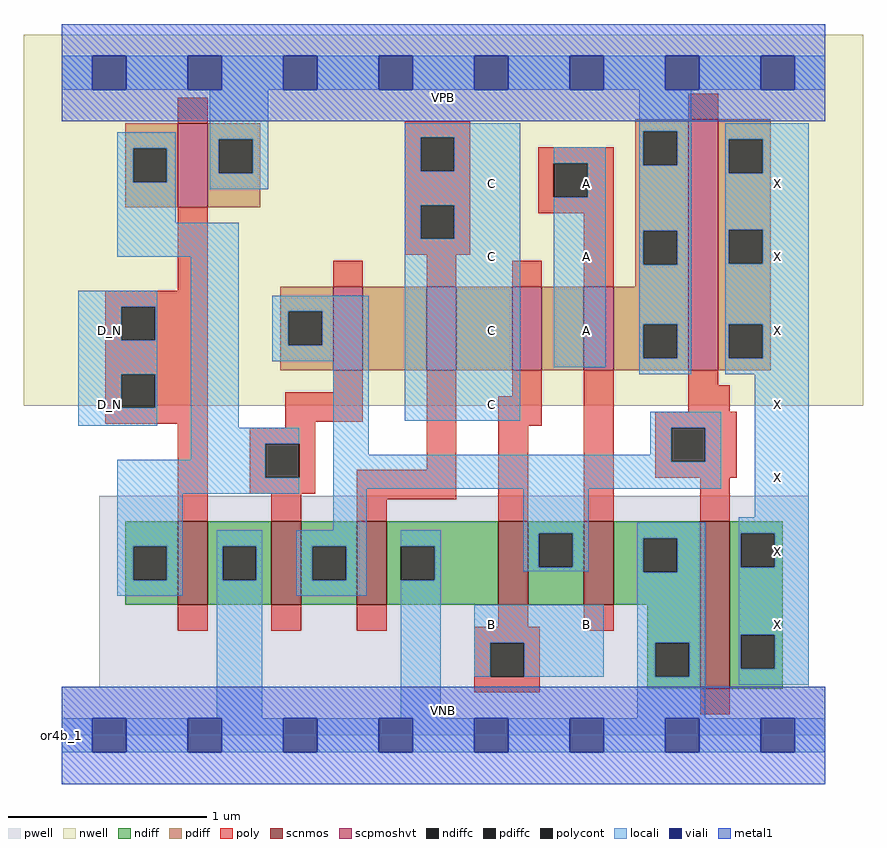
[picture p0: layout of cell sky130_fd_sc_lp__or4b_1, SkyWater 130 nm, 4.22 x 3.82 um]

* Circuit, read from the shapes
.subckt sky130_fd_sc_lp__or4b_1 A B C D_N VGND VNB VPB VPWR X
XM1 VGND D_N n1 VNB sky130_fd_pr__nfet_01v8 w=0.42 l=0.15
XM2 n2 n1 VGND VNB sky130_fd_pr__nfet_01v8 w=0.42 l=0.15
XM3 VGND C n2 VNB sky130_fd_pr__nfet_01v8 w=0.42 l=0.15
XM4 n2 B VGND VNB sky130_fd_pr__nfet_01v8 w=0.42 l=0.15
XM5 VGND A n2 VNB sky130_fd_pr__nfet_01v8 w=0.42 l=0.15
XM6 X n2 VGND VNB sky130_fd_pr__nfet_01v8 w=0.84 l=0.15
XM7 VPWR D_N n1 VPB sky130_fd_pr__pfet_01v8_hvt w=0.42 l=0.15
XM8 n3 n1 n2 VPB sky130_fd_pr__pfet_01v8_hvt w=0.42 l=0.15
XM9 n4 C n3 VPB sky130_fd_pr__pfet_01v8_hvt w=0.42 l=0.15
XM10 n5 B n4 VPB sky130_fd_pr__pfet_01v8_hvt w=0.42 l=0.15
XM11 VPWR A n5 VPB sky130_fd_pr__pfet_01v8_hvt w=0.42 l=0.15
XM12 X n2 VPWR VPB sky130_fd_pr__pfet_01v8_hvt w=1.26 l=0.15
.ends

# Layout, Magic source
magic
tech sky130A
magscale 1 2
<< nwell >>
rect -38 331 806 704
<< pwell >>
rect 38 49 751 241
rect 0 0 768 49
<< scnmos >>
rect 117 131 147 215
rect 211 131 241 215
rect 297 131 327 215
rect 439 131 469 215
rect 525 131 555 215
rect 642 47 672 215
<< scpmoshvt >>
rect 117 531 147 615
rect 273 367 303 451
rect 367 367 397 451
rect 453 367 483 451
rect 525 367 555 451
rect 630 367 660 619
<< ndiff >>
rect 64 190 117 215
rect 64 156 72 190
rect 106 156 117 190
rect 64 131 117 156
rect 147 190 211 215
rect 147 156 162 190
rect 196 156 211 190
rect 147 131 211 156
rect 241 190 297 215
rect 241 156 252 190
rect 286 156 297 190
rect 241 131 297 156
rect 327 190 439 215
rect 327 156 341 190
rect 375 156 439 190
rect 327 131 439 156
rect 469 203 525 215
rect 469 169 480 203
rect 514 169 525 203
rect 469 131 525 169
rect 555 198 642 215
rect 555 164 585 198
rect 619 164 642 198
rect 555 131 642 164
rect 589 93 642 131
rect 589 59 597 93
rect 631 59 642 93
rect 589 47 642 59
rect 672 203 725 215
rect 672 169 683 203
rect 717 169 725 203
rect 672 101 725 169
rect 672 67 683 101
rect 717 67 725 101
rect 672 47 725 67
<< pdiff >>
rect 64 590 117 615
rect 64 556 72 590
rect 106 556 117 590
rect 64 531 117 556
rect 147 599 200 615
rect 147 565 158 599
rect 192 565 200 599
rect 147 531 200 565
rect 577 607 630 619
rect 577 573 585 607
rect 619 573 630 607
rect 577 507 630 573
rect 577 473 585 507
rect 619 473 630 507
rect 577 451 630 473
rect 220 426 273 451
rect 220 392 228 426
rect 262 392 273 426
rect 220 367 273 392
rect 303 367 367 451
rect 397 367 453 451
rect 483 367 525 451
rect 555 413 630 451
rect 555 379 585 413
rect 619 379 630 413
rect 555 367 630 379
rect 660 599 713 619
rect 660 565 671 599
rect 705 565 713 599
rect 660 508 713 565
rect 660 474 671 508
rect 705 474 713 508
rect 660 413 713 474
rect 660 379 671 413
rect 705 379 713 413
rect 660 367 713 379
<< ndiffc >>
rect 72 156 106 190
rect 162 156 196 190
rect 252 156 286 190
rect 341 156 375 190
rect 480 169 514 203
rect 585 164 619 198
rect 597 59 631 93
rect 683 169 717 203
rect 683 67 717 101
<< pdiffc >>
rect 72 556 106 590
rect 158 565 192 599
rect 585 573 619 607
rect 585 473 619 507
rect 228 392 262 426
rect 585 379 619 413
rect 671 565 705 599
rect 671 474 705 508
rect 671 379 705 413
<< poly >>
rect 117 615 147 641
rect 630 619 660 645
rect 345 601 411 617
rect 345 567 361 601
rect 395 567 411 601
rect 345 533 411 567
rect 117 447 147 531
rect 345 499 361 533
rect 395 499 411 533
rect 479 575 555 591
rect 479 541 495 575
rect 529 541 555 575
rect 479 525 555 541
rect 345 483 411 499
rect 273 451 303 477
rect 367 451 397 483
rect 453 451 483 477
rect 525 451 555 525
rect 44 431 147 447
rect 44 397 60 431
rect 94 397 147 431
rect 44 363 147 397
rect 44 329 60 363
rect 94 329 147 363
rect 273 345 303 367
rect 44 313 147 329
rect 117 215 147 313
rect 225 315 303 345
rect 225 309 255 315
rect 189 293 255 309
rect 189 259 205 293
rect 239 259 255 293
rect 367 267 397 367
rect 453 341 483 367
rect 189 243 255 259
rect 211 215 241 243
rect 297 237 397 267
rect 439 311 483 341
rect 297 215 327 237
rect 439 215 469 311
rect 525 215 555 367
rect 630 352 660 367
rect 630 325 672 352
rect 597 309 679 325
rect 597 275 613 309
rect 647 275 679 309
rect 597 259 679 275
rect 642 215 672 259
rect 117 105 147 131
rect 211 105 241 131
rect 297 105 327 131
rect 439 109 469 131
rect 415 93 481 109
rect 525 105 555 131
rect 415 59 431 93
rect 465 59 481 93
rect 415 43 481 59
rect 642 21 672 47
<< polycont >>
rect 361 567 395 601
rect 361 499 395 533
rect 495 541 529 575
rect 60 397 94 431
rect 60 329 94 363
rect 205 259 239 293
rect 613 275 647 309
rect 431 59 465 93
<< locali >>
rect 0 649 31 683
rect 65 649 127 683
rect 161 649 223 683
rect 257 649 319 683
rect 353 649 415 683
rect 449 649 511 683
rect 545 649 607 683
rect 641 649 703 683
rect 737 649 768 683
rect 56 590 115 606
rect 56 556 72 590
rect 106 556 115 590
rect 56 515 115 556
rect 149 599 208 649
rect 149 565 158 599
rect 192 565 208 599
rect 149 549 208 565
rect 345 601 461 615
rect 345 567 361 601
rect 395 567 461 601
rect 581 607 633 649
rect 345 533 461 567
rect 56 481 178 515
rect 17 431 96 447
rect 17 397 60 431
rect 94 397 96 431
rect 17 363 96 397
rect 17 329 60 363
rect 94 329 96 363
rect 17 311 96 329
rect 130 309 178 481
rect 345 499 361 533
rect 395 499 461 533
rect 212 426 309 442
rect 212 392 228 426
rect 262 392 309 426
rect 212 376 309 392
rect 130 293 239 309
rect 130 277 205 293
rect 56 259 205 277
rect 56 243 239 259
rect 273 282 309 376
rect 345 316 461 499
rect 495 575 547 591
rect 529 541 547 575
rect 495 370 547 541
rect 581 573 585 607
rect 619 573 633 607
rect 581 507 633 573
rect 581 473 585 507
rect 619 473 633 507
rect 581 413 633 473
rect 581 379 585 413
rect 619 379 633 413
rect 581 363 633 379
rect 667 599 751 615
rect 667 565 671 599
rect 705 565 751 599
rect 667 508 751 565
rect 667 474 671 508
rect 705 474 751 508
rect 667 413 751 474
rect 667 379 671 413
rect 705 379 751 413
rect 667 363 751 379
rect 592 309 663 325
rect 592 282 613 309
rect 273 275 613 282
rect 647 275 663 309
rect 273 248 663 275
rect 56 190 122 243
rect 273 206 307 248
rect 56 156 72 190
rect 106 156 122 190
rect 56 140 122 156
rect 156 190 202 206
rect 156 156 162 190
rect 196 156 202 190
rect 156 17 202 156
rect 236 190 307 206
rect 236 156 252 190
rect 286 156 307 190
rect 236 140 307 156
rect 341 190 381 206
rect 375 156 381 190
rect 464 203 530 248
rect 697 219 751 363
rect 464 169 480 203
rect 514 169 530 203
rect 464 165 530 169
rect 579 198 647 214
rect 341 17 381 156
rect 579 164 585 198
rect 619 164 647 198
rect 415 93 545 131
rect 415 59 431 93
rect 465 59 545 93
rect 579 93 647 164
rect 579 59 597 93
rect 631 59 647 93
rect 579 17 647 59
rect 681 203 751 219
rect 681 169 683 203
rect 717 169 751 203
rect 681 101 751 169
rect 681 67 683 101
rect 717 67 751 101
rect 681 51 751 67
rect 0 -17 31 17
rect 65 -17 127 17
rect 161 -17 223 17
rect 257 -17 319 17
rect 353 -17 415 17
rect 449 -17 511 17
rect 545 -17 607 17
rect 641 -17 703 17
rect 737 -17 768 17
<< viali >>
rect 31 649 65 683
rect 127 649 161 683
rect 223 649 257 683
rect 319 649 353 683
rect 415 649 449 683
rect 511 649 545 683
rect 607 649 641 683
rect 703 649 737 683
rect 31 -17 65 17
rect 127 -17 161 17
rect 223 -17 257 17
rect 319 -17 353 17
rect 415 -17 449 17
rect 511 -17 545 17
rect 607 -17 641 17
rect 703 -17 737 17
<< metal1 >>
rect 0 683 768 715
rect 0 649 31 683
rect 65 649 127 683
rect 161 649 223 683
rect 257 649 319 683
rect 353 649 415 683
rect 449 649 511 683
rect 545 649 607 683
rect 641 649 703 683
rect 737 649 768 683
rect 0 617 768 649
rect 0 17 768 49
rect 0 -17 31 17
rect 65 -17 127 17
rect 161 -17 223 17
rect 257 -17 319 17
rect 353 -17 415 17
rect 449 -17 511 17
rect 545 -17 607 17
rect 641 -17 703 17
rect 737 -17 768 17
rect 0 -49 768 -17
<< labels >>
flabel pwell s 0 0 768 49 0 FreeSans 200 0 0 0 VNB
port 6 nsew ground bidirectional
flabel nwell s 0 617 768 666 0 FreeSans 200 0 0 0 VPB
port 7 nsew power bidirectional
rlabel comment s 0 0 0 0 4 or4b_1
flabel metal1 s 0 617 768 666 0 FreeSans 340 0 0 0 VPWR
port 8 nsew power bidirectional
flabel metal1 s 0 0 768 49 0 FreeSans 340 0 0 0 VGND
port 5 nsew ground bidirectional
flabel locali s 415 316 449 350 0 FreeSans 340 0 0 0 C
port 3 nsew signal input
flabel locali s 415 390 449 424 0 FreeSans 340 0 0 0 C
port 3 nsew signal input
flabel locali s 415 464 449 498 0 FreeSans 340 0 0 0 C
port 3 nsew signal input
flabel locali s 415 538 449 572 0 FreeSans 340 0 0 0 C
port 3 nsew signal input
flabel locali s 703 94 737 128 0 FreeSans 340 0 0 0 X
port 9 nsew signal output
flabel locali s 703 168 737 202 0 FreeSans 340 0 0 0 X
port 9 nsew signal output
flabel locali s 703 242 737 276 0 FreeSans 340 0 0 0 X
port 9 nsew signal output
flabel locali s 703 316 737 350 0 FreeSans 340 0 0 0 X
port 9 nsew signal output
flabel locali s 703 390 737 424 0 FreeSans 340 0 0 0 X
port 9 nsew signal output
flabel locali s 703 464 737 498 0 FreeSans 340 0 0 0 X
port 9 nsew signal output
flabel locali s 703 538 737 572 0 FreeSans 340 0 0 0 X
port 9 nsew signal output
flabel locali s 511 390 545 424 0 FreeSans 340 0 0 0 A
port 1 nsew signal input
flabel locali s 511 464 545 498 0 FreeSans 340 0 0 0 A
port 1 nsew signal input
flabel locali s 511 538 545 572 0 FreeSans 340 0 0 0 A
port 1 nsew signal input
flabel locali s 415 94 449 128 0 FreeSans 340 0 0 0 B
port 2 nsew signal input
flabel locali s 511 94 545 128 0 FreeSans 340 0 0 0 B
port 2 nsew signal input
flabel locali s 31 316 65 350 0 FreeSans 340 0 0 0 D_N
port 4 nsew signal input
flabel locali s 31 390 65 424 0 FreeSans 340 0 0 0 D_N
port 4 nsew signal input
<< properties >>
string LEFsite unit
string LEFclass CORE
string FIXED_BBOX 0 0 768 666
string GDS_FILE $PDKPATH/libs.ref/sky130_fd_sc_lp/gds/sky130_fd_sc_lp.gds
string LEFsymmetry X Y R90
string GDS_END 2917876
string GDS_START 2909528
<< end >>
